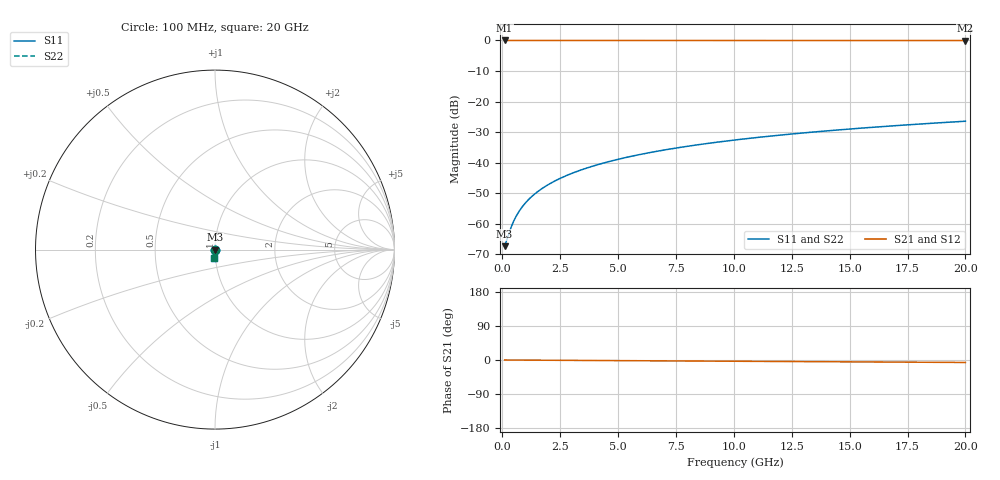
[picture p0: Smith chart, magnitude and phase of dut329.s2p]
! Touchstone file exported from HFSS 2026.1.0
!  File:  C:/ffzhzh/LocalFiles/Ansys_Project_Files/temp_train_TSV_329_1783018485_51716.aedt
!  Generated:  02:56:20 AM Jul  3, 2026
!  Design:  TSV
!  Project:  temp_train_TSV_329_1783018485_51716
! Variables:
!  h_bsmrdl = 2um
!  h_ox = 20um
!  h_rdl = 5um
!  h_sub = 64.03um
!  h_tmrdl = 5um
!  h_tsv = 64.03um
!  h_via = 3um
!  l_bsmrdl = 300um
!  l_sub = 409.14um
!  l_tmrdl = 200um
!  m_sub = 200um
!  pitch = 12.66um
!  r_tsv = 4.57um
!  s_tmrdl = 10um
!  w_bsmrdl = 18um
!  w_sub = 500um
!  w_tmrdl = 12um
!  x_tsv_center1 = 206um
!  x_tsv_center2 = 524um
!  x_tsv_center3 = 736um
!  x_tsv_center4 = 1054um
!  x_tsv_center5 = 1266um
!  x_tsv_center6 = 1584um
# GHz S MA R 50.000000
! Terminal data exported
! Port[1] = TSV1_1_T1
! Port[2] = TSV1_1_T2
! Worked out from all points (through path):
!   200 points, 100 MHz to 20 GHz, reference 50 ohm
!   highest |S21| = 0.00 dB at 100 MHz (marker M1); lowest = 0.0 dB at 20 GHz (marker M2)
!   lowest |S11| = -67.3 dB at 100 MHz (marker M3), VSWR 1.00, Z = 50 - j0.017 ohm
!   |S11| at or under -10 dB: start of sweep to end of sweep
!   |S22| runs from -67.3 to -26.4 dB; largest |S21 - S12| = 2.1e-15
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0.1  0.0004301 -23.3  0.9996 -0.0  0.9996 -0.0  0.0004301 -23.3
! Gamma 0 0 0 0
! Port Impedance 50 0 50 0
0.3  0.000724 -50.7  0.9995 -0.1  0.9995 -0.1  0.000724 -50.7
0.4  0.0009162 -57.9  0.9995 -0.1  0.9995 -0.1  0.0009162 -57.9
0.5  0.00112 -62.9  0.9995 -0.2  0.9995 -0.2  0.00112 -62.9
0.6  0.00133 -66.7  0.9995 -0.2  0.9995 -0.2  0.00133 -66.7
0.7  0.001544 -69.5  0.9994 -0.2  0.9994 -0.2  0.001544 -69.5
0.9  0.001977 -73.4  0.9994 -0.3  0.9994 -0.3  0.001977 -73.4
1.2  0.002633 -77.1  0.9994 -0.4  0.9994 -0.4  0.002633 -77.1
1.4  0.003073 -78.7  0.9994 -0.5  0.9994 -0.5  0.003073 -78.7
1.7  0.003738 -80.3  0.9993 -0.6  0.9993 -0.6  0.003738 -80.3
2.2  0.004857 -82.1  0.9993 -0.7  0.9993 -0.7  0.004857 -82.1
2.8  0.006217 -83.4  0.9992 -0.9  0.9992 -0.9  0.006217 -83.4
3.5  0.007828 -84.4  0.999 -1.2  0.999 -1.2  0.007828 -84.4
4.2  0.00946 -85.1  0.9989 -1.4  0.9989 -1.4  0.00946 -85.1
5  0.01135 -85.8  0.9988 -1.7  0.9988 -1.7  0.01135 -85.8
5.9  0.01349 -86.5  0.9986 -2.0  0.9986 -2.0  0.01349 -86.5
6.8  0.01565 -87.1  0.9985 -2.2  0.9985 -2.2  0.01565 -87.1
8.3  0.01928 -88.1  0.9982 -2.7  0.9982 -2.7  0.01928 -88.1
10.1  0.02364 -89.1  0.998 -3.3  0.998 -3.3  0.02364 -89.1
13.4  0.03164 -90.8  0.9975 -4.4  0.9975 -4.4  0.03164 -90.8
16.7  0.03965 -92.2  0.997 -5.4  0.997 -5.4  0.03965 -92.2
20  0.04767 -93.5  0.9964 -6.5  0.9964 -6.5  0.04767 -93.5
